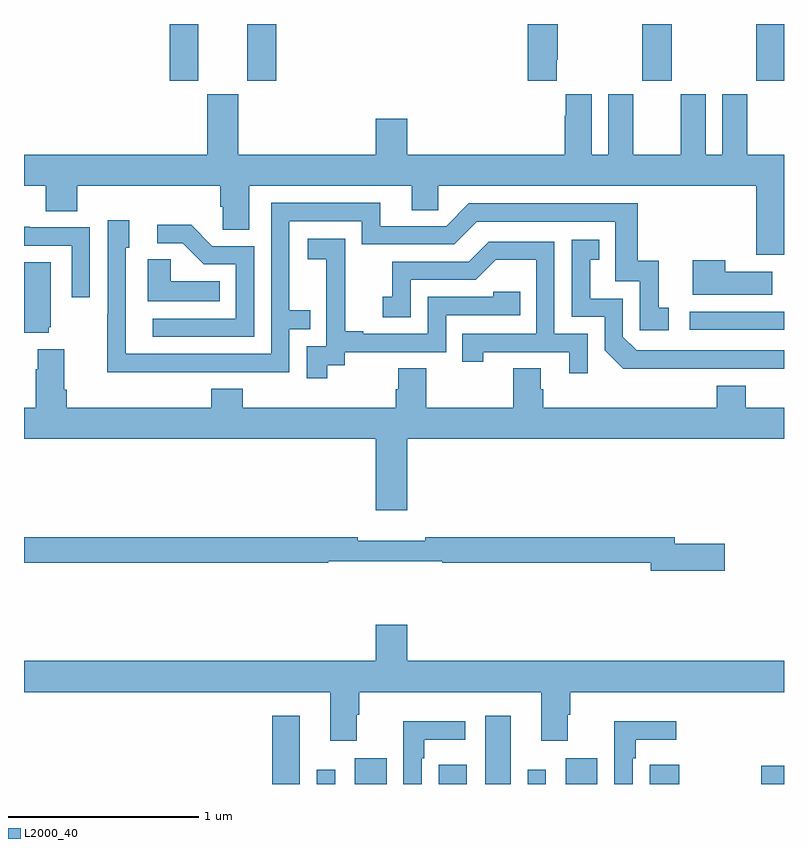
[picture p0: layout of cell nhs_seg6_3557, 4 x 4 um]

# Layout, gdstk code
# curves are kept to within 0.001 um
import gdstk
lib = gdstk.Library(unit=1e-6, precision=1e-09)
def R(c, l, rs):  # rectangles x0, y0, x1, y1
    for r in rs: c.add(gdstk.rectangle(r[:2], r[2:], *l))
def P(c, l, *ps):  # polygons
    for p in ps: c.add(gdstk.Polygon(p, *l))
L2000_40 = (2000, 40)

nhs_seg6_3557 = lib.new_cell('nhs_seg6_3557')
R(nhs_seg6_3557, L2000_40, [(320.306,965.5,320.452,965.86), (320.541,965.5,320.637,965.575), (320.741,965.5,320.908,965.635), (321.182,965.5,321.331,965.602), (321.428,965.5,321.562,965.86), (321.651,965.5,321.747,965.575), (321.851,965.5,322.018,965.635), (322.293,965.5,322.449,965.602), (322.879,965.5,323,965.595), (322.503,967.89,323,967.986), (319.766,969.201,319.918,969.5), (320.174,969.201,320.327,969.5), (322.255,969.201,322.41,969.5), (322.855,969.201,323,969.5)])
P(nhs_seg6_3557, L2000_40, [(321.805,969.313),(321.81,969.313),(321.81,969.5),(321.65,969.5),(321.65,969.201),(321.805,969.201)],
  [(323,968.812),(322.807,968.812),(322.807,969.13),(322.676,969.13),(322.676,968.812),(322.588,968.812),(322.588,969.13),(322.457,969.13),(322.457,968.812),(322.207,968.812),(322.207,969.13),(322.076,969.13),(322.076,968.812),(321.988,968.812),(321.988,969.13),(321.851,969.13),(321.851,969.017),(321.845,969.017),(321.845,968.812),(321.016,968.812),(321.016,969.001),(320.852,969.001),(320.852,968.812),(320.128,968.812),(320.128,969.129),(319.964,969.129),(319.964,968.812),(319,968.812),(319,968.648),(319.115,968.648),(319.115,968.515),(319.28,968.515),(319.28,968.648),(320.033,968.648),(320.033,968.539),(320.046,968.539),(320.046,968.416),(320.185,968.416),(320.185,968.648),(321.041,968.648),(321.041,968.521),(321.18,968.521),(321.18,968.648),(322.853,968.648),(322.853,968.286),(323,968.286)],
  [(319.901,967.668),(320.397,967.668),(320.397,967.893),(320.507,967.893),(320.507,967.994),(320.397,967.994),(320.397,968.463),(320.778,968.463),(320.778,968.34),(321.264,968.34),(321.384,968.46),(322.113,968.46),(322.113,968.145),(322.242,968.145),(322.242,967.887),(322.393,967.887),(322.393,968.007),(322.34,968.007),(322.34,968.254),(322.229,968.254),(322.229,968.556),(321.342,968.556),(321.222,968.436),(320.875,968.436),(320.875,968.559),(320.301,968.559),(320.301,967.764),(319.536,967.764),(319.536,968.322),(319.555,968.322),(319.555,968.467),(319.44,968.467),(319.44,967.973),(319.438,967.973),(319.438,967.667)],
  [(320.211,968.331),(319.992,968.331),(319.879,968.444),(319.701,968.444),(319.701,968.346),(319.835,968.346),(319.946,968.235),(320.115,968.235),(320.115,967.95),(319.677,967.95),(319.677,967.854),(320.211,967.854)],
  [(319.347,968.43),(319.031,968.43),(319.031,968.432),(319,968.432),(319,968.334),(319.251,968.334),(319.251,968.061),(319.347,968.061)],
  [(320.596,967.705),(320.688,967.705),(320.688,967.773),(321.222,967.773),(321.222,967.968),(321.611,967.968),(321.611,968.091),(321.471,968.091),(321.471,968.064),(321.126,968.064),(321.126,967.869),(320.785,967.869),(320.785,967.882),(320.69,967.882),(320.69,968.165),(320.691,968.165),(320.691,968.371),(320.493,968.371),(320.493,968.261),(320.591,968.261),(320.591,968.033),(320.592,968.033),(320.592,967.803),(320.487,967.803),(320.487,967.635),(320.596,967.635)],
  [(322.562,967.686),(323,967.686),(323,967.782),(322.224,967.782),(322.152,967.854),(322.152,968.055),(321.979,968.055),(321.979,968.259),(322.028,968.259),(322.028,968.365),(321.882,968.365),(321.882,967.959),(322.056,967.959),(322.056,967.782),(322.154,967.685)],
  [(321.966,967.869),(321.792,967.869),(321.792,968.355),(321.446,968.355),(321.341,968.25),(320.938,968.25),(320.938,968.065),(320.889,968.065),(320.889,967.956),(321.036,967.956),(321.036,968.154),(321.378,968.154),(321.482,968.258),(321.696,968.258),(321.696,967.869),(321.307,967.869),(321.307,967.722),(321.418,967.722),(321.418,967.773),(321.869,967.773),(321.869,967.662),(321.966,967.662)],
  [(320.03,968.146),(319.773,968.146),(319.773,968.261),(319.652,968.261),(319.652,968.042),(320.03,968.042)],
  [(322.939,968.197),(322.691,968.197),(322.691,968.257),(322.52,968.257),(322.52,968.075),(322.939,968.075)],
  [(319.13,967.905),(319.141,967.905),(319.141,968.245),(319,968.245),(319,967.874),(319.13,967.874)],
  [(321.016,967.316),(323,967.316),(323,967.48),(322.798,967.48),(322.798,967.597),(322.646,967.597),(322.646,967.48),(321.734,967.48),(321.734,967.578),(321.721,967.578),(321.721,967.688),(321.574,967.688),(321.574,967.48),(321.117,967.48),(321.117,967.688),(320.969,967.688),(320.969,967.578),(320.957,967.578),(320.957,967.48),(320.15,967.48),(320.15,967.579),(319.985,967.579),(319.985,967.48),(319.226,967.48),(319.226,967.576),(319.213,967.576),(319.213,967.789),(319.073,967.789),(319.073,967.682),(319.061,967.682),(319.061,967.48),(319,967.48),(319,967.316),(320.852,967.316),(320.852,966.942),(321.016,966.942)],
  [(322.687,966.764),(322.426,966.764),(322.426,966.8),(321.112,966.8),(321.112,966.781),(320.756,966.781),(320.756,966.8),(319,966.8),(319,966.664),(320.602,966.664),(320.602,966.672),(321.202,966.672),(321.202,966.664),(322.298,966.664),(322.298,966.622),(322.687,966.622)],
  [(320.752,965.864),(320.765,965.864),(320.765,965.984),(321.722,965.984),(321.722,965.727),(321.862,965.727),(321.862,965.864),(321.875,965.864),(321.875,965.984),(323,965.984),(323,966.148),(321.016,966.148),(321.016,966.337),(320.852,966.337),(320.852,966.148),(319,966.148),(319,965.984),(320.612,965.984),(320.612,965.727),(320.752,965.727)],
  [(322.203,965.636),(322.219,965.636),(322.219,965.732),(322.432,965.732),(322.432,965.83),(322.107,965.83),(322.107,965.5),(322.203,965.5)],
  [(321.093,965.636),(321.106,965.636),(321.106,965.732),(321.322,965.732),(321.322,965.83),(320.997,965.83),(320.997,965.5),(321.093,965.5)])

lib.write_gds('nhs_seg6_3557.gds')
